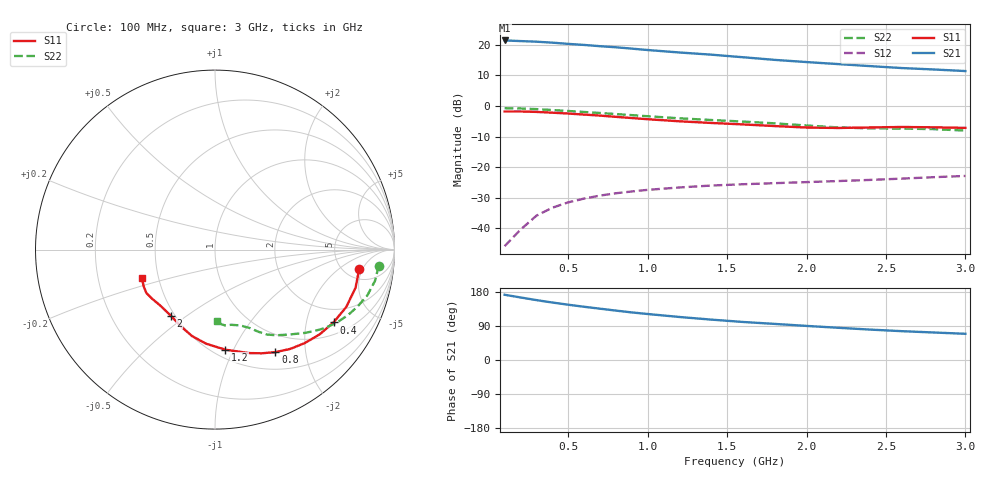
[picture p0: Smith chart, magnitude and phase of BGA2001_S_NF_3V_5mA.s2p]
! Title: BGA2001
! Bias: Vce=3V; Ic=5.0mA controlled / noise data included
! Company: Philips Semiconductors NL
! User: Quality&Reliability T&D
! Measure time: 23 Oct 1998 / 08:34:00
#  MHz  S  MA  R 50
! Freq  S11  S21  S12  S22  :
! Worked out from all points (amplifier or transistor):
!   20 points, 100 MHz to 3 GHz, reference 50 ohm
!   highest |S21| = 21.4 dB at 100 MHz (marker M1)
!   |S21| within 3 dB of that: start of sweep to 973.2 MHz
!   unconditionally stable (mu >= 1): 1.988 GHz to end of sweep
!   at 400 MHz: K = 0.24, MSG = 27.0 dB, |S12| = -33.3 dB
!   at 1.2 GHz: K = 0.59, MSG = 22.1 dB, |S12| = -26.7 dB
!   at 3 GHz: K = 1.24, MAG = 14.2 dB, |S12| = -22.9 dB
!   lowest NFmin = 1.30 dB at 1.8 GHz
!   S11 on the Smith chart (normalised r, x): 100 MHz: 6.90, -4.26; 400 MHz: 1.42, -2.90; 800 MHz: 0.73, -1.49; 1.2 GHz: 0.57, -0.93; 2 GHz: 0.48, -0.44; 3 GHz: 0.40, -0.16
100  0.8108 -7.5  11.74 172.1  0.005104 59.2  0.917 -5.6
200  0.8115 -15.2  11.47 165.0  0.009497 78.4  0.9082 -11.1
300  0.798 -23.6  11.21 158.1  0.01605 78.3  0.8867 -16.7
400  0.7752 -31.6  10.81 151.7  0.02167 74.0  0.8561 -21.7
500  0.7503 -39.0  10.32 145.9  0.02651 69.9  0.8265 -26.2
600  0.7222 -46.1  9.921 140.5  0.03061 66.4  0.796 -30.2
700  0.6945 -52.8  9.461 135.4  0.03422 63.5  0.7664 -33.8
800  0.663 -59.5  9.09 130.4  0.03736 60.9  0.7365 -37.1
900  0.6337 -65.7  8.634 125.6  0.03998 58.7  0.707 -40.2
1000  0.6063 -71.9  8.199 121.4  0.04248 57.0  0.6785 -43.3
1200  0.5606 -84.0  7.467 113.5  0.04647 54.1  0.6272 -49.0
1400  0.5269 -95.3  6.883 106.6  0.04997 52.1  0.5883 -54.2
1600  0.4987 -104.8  6.244 100.4  0.05249 51.5  0.5547 -58.5
1800  0.4686 -113.8  5.654 95.2  0.05464 52.0  0.519 -62.0
2000  0.4429 -123.8  5.208 90.0  0.05688 51.9  0.4786 -66.0
2200  0.436 -134.1  4.826 85.0  0.05921 51.7  0.4452 -71.6
2400  0.4447 -142.1  4.472 80.3  0.06177 52.5  0.4287 -77.8
2600  0.4527 -147.6  4.157 76.1  0.06487 54.1  0.4259 -82.4
2800  0.447 -152.6  3.941 72.6  0.06844 54.7  0.4176 -85.2
3000  0.4378 -158.7  3.712 69.1  0.07173 55.6  0.3953 -88.0
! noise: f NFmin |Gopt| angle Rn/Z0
900  1.34  0.33  20.6  0.28
1000  1.36  0.31  20.5  0.3
1800  1.299  0.279  66.18  0.234
2000  1.331  0.27  72.85  0.234
2200  1.442  0.222  84.7  0.231
2400  1.557  0.207  101.7  0.209
